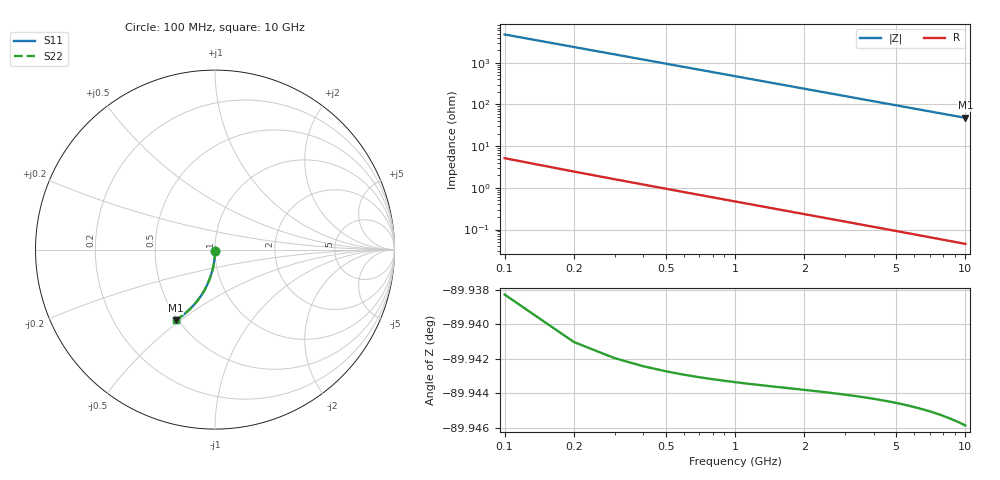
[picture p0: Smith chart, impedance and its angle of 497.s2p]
# Hz S RI R 50.00
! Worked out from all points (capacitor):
!   100 points, 100 MHz to 10 GHz, reference 50 ohm
!   read as one part in shunt: C = 333 fF near 100 MHz
!   lowest |Z| = 47.8 ohm at 10 GHz (marker M1)
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1e8  4.64e-05 -0.00504  0.9999 -0.00543  0.9999 -0.00543  4.64e-05 -0.00504
2e8  -4.03e-05 -0.0101  0.9998 -0.0109  0.9998 -0.0109  -4.03e-05 -0.0101
3e8  -0.000182 -0.0151  0.9997 -0.0163  0.9997 -0.0163  -0.000182 -0.0151
4e8  -0.000378 -0.0201  0.9995 -0.0217  0.9995 -0.0217  -0.000378 -0.0201
5e8  -0.000629 -0.0252  0.9992 -0.0271  0.9992 -0.0271  -0.000629 -0.0252
6e8  -0.000934 -0.0302  0.9989 -0.0326  0.9989 -0.0326  -0.000934 -0.0302
7e8  -0.00129 -0.0352  0.9985 -0.038  0.9985 -0.038  -0.00129 -0.0352
8e8  -0.00171 -0.0402  0.9981 -0.0434  0.9981 -0.0434  -0.00171 -0.0402
9e8  -0.00218 -0.0452  0.9977 -0.0488  0.9977 -0.0488  -0.00218 -0.0452
1.1e9  -0.00328 -0.0552  0.9965 -0.0596  0.9965 -0.0596  -0.00328 -0.0552
1.4e9  -0.00533 -0.0702  0.9945 -0.0757  0.9945 -0.0757  -0.00533 -0.0702
1.8e9  -0.00881 -0.0899  0.991 -0.097  0.991 -0.097  -0.00881 -0.0899
2.1e9  -0.012 -0.1046  0.9878 -0.1128  0.9878 -0.1128  -0.012 -0.1046
2.5e9  -0.0169 -0.1239  0.9829 -0.1337  0.9829 -0.1337  -0.0169 -0.1239
2.9e9  -0.0226 -0.1428  0.9772 -0.1543  0.9772 -0.1543  -0.0226 -0.1428
3.4e9  -0.0308 -0.1661  0.9689 -0.1794  0.9689 -0.1794  -0.0308 -0.1661
4.2e9  -0.0464 -0.2018  0.9533 -0.2184  0.9533 -0.2184  -0.0464 -0.2018
5.1e9  -0.067 -0.2398  0.9326 -0.2599  0.9326 -0.2599  -0.067 -0.2398
5.9e9  -0.0878 -0.2711  0.9118 -0.2945  0.9118 -0.2945  -0.0878 -0.2711
6.7e9  -0.1105 -0.3001  0.8889 -0.3266  0.8889 -0.3266  -0.1105 -0.3001
8.4e9  -0.1639 -0.3533  0.8354 -0.3867  0.8354 -0.3867  -0.1639 -0.3533
1e10  -0.218 -0.3928  0.781 -0.4327  0.781 -0.4327  -0.218 -0.3928
